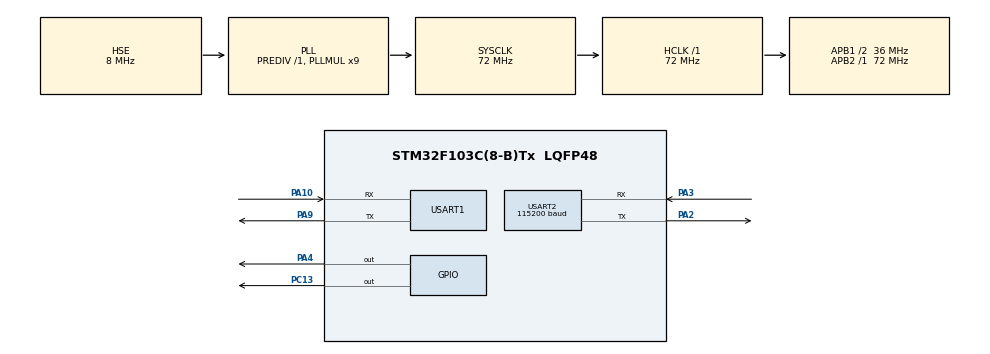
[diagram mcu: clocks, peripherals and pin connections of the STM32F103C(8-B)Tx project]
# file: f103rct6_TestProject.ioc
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Dma.Request0=USART2_RX
Dma.Request1=USART2_TX
Dma.USART2_RX.0.Direction=DMA_PERIPH_TO_MEMORY
Dma.USART2_RX.0.Instance=DMA1_Channel6
Dma.USART2_RX.0.MemDataAlignment=DMA_MDATAALIGN_BYTE
Dma.USART2_RX.0.MemInc=DMA_MINC_ENABLE
Dma.USART2_RX.0.Mode=DMA_CIRCULAR
Dma.USART2_RX.0.PeriphDataAlignment=DMA_PDATAALIGN_BYTE
Dma.USART2_RX.0.PeriphInc=DMA_PINC_DISABLE
Dma.USART2_RX.0.Priority=DMA_PRIORITY_LOW
Dma.USART2_TX.1.Direction=DMA_MEMORY_TO_PERIPH
Dma.USART2_TX.1.Instance=DMA1_Channel7
Dma.USART2_TX.1.MemDataAlignment=DMA_MDATAALIGN_BYTE
Dma.USART2_TX.1.MemInc=DMA_MINC_ENABLE
Dma.USART2_TX.1.Mode=DMA_NORMAL
Dma.USART2_TX.1.PeriphDataAlignment=DMA_PDATAALIGN_BYTE
Dma.USART2_TX.1.PeriphInc=DMA_PINC_DISABLE
Dma.USART2_TX.1.Priority=DMA_PRIORITY_LOW
Mcu.Family=STM32F1
Mcu.Name=STM32F103C(8-B)Tx
Mcu.Package=LQFP48
NVIC.DMA1_Channel6_IRQn=true\:0\:0\:false\:false\:true\:false\:true
NVIC.DMA1_Channel7_IRQn=true\:0\:0\:false\:false\:true\:false\:true
NVIC.PriorityGroup=NVIC_PRIORITYGROUP_4
NVIC.USART2_IRQn=true\:0\:0\:false\:false\:true\:true\:true
PA10.Mode=Asynchronous
PA10.Signal=USART1_RX
PA13.Mode=Serial_Wire
PA13.Signal=SYS_JTMS-SWDIO
PA14.Mode=Serial_Wire
PA14.Signal=SYS_JTCK-SWCLK
PA2.Mode=Asynchronous
PA2.Signal=USART2_TX
PA3.Mode=Asynchronous
PA3.Signal=USART2_RX
PA4.PinState=GPIO_PIN_SET
PA4.Signal=GPIO_Output
PA9.Mode=Asynchronous
PA9.Signal=USART1_TX
PC13-TAMPER-RTC.PinState=GPIO_PIN_RESET
PC13-TAMPER-RTC.Signal=GPIO_Output
PD0-OSC_IN.Mode=HSE-External-Oscillator
PD0-OSC_IN.Signal=RCC_OSC_IN
PD1-OSC_OUT.Mode=HSE-External-Oscillator
PD1-OSC_OUT.Signal=RCC_OSC_OUT
ProjectManager.HeapSize=0x200
ProjectManager.StackSize=0x400
ProjectManager.TargetToolchain=MDK-ARM V5.27
RCC.AHBFreq_Value=72000000
RCC.APB1CLKDivider=RCC_HCLK_DIV2
RCC.APB1Freq_Value=36000000
RCC.APB1TimFreq_Value=72000000
RCC.APB2Freq_Value=72000000
RCC.APB2TimFreq_Value=72000000
RCC.HCLKFreq_Value=72000000
RCC.PLLMUL=RCC_PLL_MUL9
RCC.PLLSourceVirtual=RCC_PLLSOURCE_HSE
RCC.SYSCLKFreq_VALUE=72000000
RCC.SYSCLKSource=RCC_SYSCLKSOURCE_PLLCLK
RCC.USBFreq_Value=72000000
USART1.VirtualMode=VM_ASYNC
USART2.BaudRate=115200
USART2.VirtualMode=VM_ASYNC
board=custom

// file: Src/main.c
/* USER CODE BEGIN Header */
/**
  ******************************************************************************
  * @file           : main.c
  * @brief          : Main program body
  ******************************************************************************
  * @attention
  *
  * <h2><center>&copy; Copyright (c) 2020 STMicroelectronics.
  * All rights reserved.</center></h2>
  *
  * This software component is licensed by ST under BSD 3-Clause license,
  * the "License"; You may not use this file except in compliance with the
  * License. You may obtain a copy of the License at:
  *                        opensource.org/licenses/BSD-3-Clause
  *
  ******************************************************************************
  */
/* USER CODE END Header */

#include "main.h"

/* USER CODE BEGIN Includes */
#include "stdio.h"
/* USER CODE END Includes */

/* USER CODE BEGIN PD */
#define DHT11_IO_IN()  {GPIOA->CRL&=0XFFF0FFFF;GPIOA->CRL|=0X00050000;}
#define DHT11_IO_OUT() {GPIOA->CRL&=0XFFF0FFFF;GPIOA->CRL|=0X00030000;}
/* USER CODE END PD */

UART_HandleTypeDef huart1;
UART_HandleTypeDef huart2;
DMA_HandleTypeDef hdma_usart2_rx;
DMA_HandleTypeDef hdma_usart2_tx;

/* USER CODE BEGIN PV */
uint8_t temp;
uint8_t humi;
uint8_t send_temp[11]={"n0.val="};
uint8_t send_humi[11]={"n1.val="};
uint8_t send_end[3]={0xFF, 0xFF, 0xFF};
/* USER CODE END PV */

void SystemClock_Config(void);
static void MX_GPIO_Init(void);
static void MX_DMA_Init(void);
static void MX_USART1_UART_Init(void);
static void MX_USART2_UART_Init(void);
/* USER CODE BEGIN PFP */
int fputc(int ch, FILE *f)
{
	HAL_UART_Transmit(&huart1, (uint8_t*)&ch, 1, 1000);
	HAL_Delay(1);
	return 0;
}

void Delay_us(uint32_t udelay)
{
  uint32_t startval,tickn,delays,wait;

  startval = SysTick->VAL;
  tickn = HAL_GetTick();
  //sysc = 72000;  //SystemCoreClock / (1000U / uwTickFreq);
  delays =udelay * 72; //sysc / 1000 * udelay;
  if(delays > startval)
    {
      while(HAL_GetTick() == tickn)
        {

        }
      wait = 72000 + startval - delays;
      while(wait < SysTick->VAL)
        {

        }
    }
  else
    {
      wait = startval - delays;
      while(wait < SysTick->VAL && HAL_GetTick() == tickn);
    }
}

void DHT11_Rst(void)
{
	DHT11_IO_OUT();
	HAL_GPIO_WritePin(GPIOA, GPIO_PIN_4, GPIO_PIN_RESET);
	HAL_Delay(20);    	//拉低至少18ms
  HAL_GPIO_WritePin(GPIOA, GPIO_PIN_4, GPIO_PIN_SET);
	Delay_us(30);     	//拉高20~40us
}

//等待DHT11的回应
//返回1:未检测到DHT11的存在
//返回0:存在
uint8_t DHT11_Check(void)
{
	uint8_t retry=0;
	DHT11_IO_IN();//SET INPUT
  while (HAL_GPIO_ReadPin(GPIOA,GPIO_PIN_4)&&retry<100)//DHT11会拉低40~80us
	{
		retry++;
		Delay_us(1);
	}
	if(retry>=100)
		return 1;
	else
		retry=0;

  while (!HAL_GPIO_ReadPin(GPIOA,GPIO_PIN_4)&&retry<100)//DHT11拉低后会再次拉高40~80us
	{
		retry++;
		Delay_us(1);
	};
	if(retry>=100)
		return 1;
	return 0;
}

//从DHT11读取一个位
//返回值：1/0
uint8_t DHT11_Read_Bit(void)
{
 	uint8_t retry=0;
	while(HAL_GPIO_ReadPin(GPIOA,GPIO_PIN_4)&&retry<100)//等待变为低电平
	{
		retry++;
		Delay_us(1);
	}
	retry=0;
	while(!HAL_GPIO_ReadPin(GPIOA,GPIO_PIN_4)&&retry<100)//等待变高电平
	{
		retry++;
		Delay_us(1);
	}
	Delay_us(40);//等待40us
	if(HAL_GPIO_ReadPin(GPIOA,GPIO_PIN_4))
		return 1;
	else
		return 0;
}

//从DHT11读取一个字节
//返回值：读到的数据
uint8_t DHT11_Read_Byte(void)
{
	uint8_t i,dat;
	dat=0;
	for (i=0;i<8;i++)
	{
		dat<<=1;
		dat|=DHT11_Read_Bit();
	}
	return dat;
}

//从DHT11读取一次数据
//temp:温度值(范围:0~50°)
//humi:湿度值(范围:20%~90%)
//返回值：0,正常;1,读取失败
uint8_t DHT11_Read_Data(uint8_t *temp,uint8_t *humi)
{
 	uint8_t buf[5];
	uint8_t i;
	DHT11_Rst();
	if(DHT11_Check()==0)
	{
		for(i=0;i<5;i++)//读取40位数据
		{
			buf[i]=DHT11_Read_Byte();
		}
		if((buf[0]+buf[1]+buf[2]+buf[3])==buf[4])
		{
			*humi=buf[0];
			*temp=buf[2];
		}
	}
	else
		return 1;
	return 0;
}

//初始化DHT11的IO口 DQ 同时检测DHT11的存在
//返回1:不存在
//返回0:存在
uint8_t DHT11_Init(void)
{
	DHT11_Rst();  //复位DHT11
	return DHT11_Check();//等待DHT11的回应
}
/* USER CODE END PFP */

int main(void)
{

  /* MCU Configuration--------------------------------------------------------*/

  /* Reset of all peripherals, Initializes the Flash interface and the Systick. */
  HAL_Init();

  /* Configure the system clock */
  SystemClock_Config();

  /* Initialize all configured peripherals */
  MX_GPIO_Init();
  MX_DMA_Init();
  MX_USART1_UART_Init();
  MX_USART2_UART_Init();
  /* USER CODE BEGIN 2 */
	while(DHT11_Init())
	{
		printf("DHT11 Error \r\n");
		HAL_Delay(1000);
	}
  /* USER CODE END 2 */

  /* Infinite loop */
  while (1)
  {

    /* USER CODE BEGIN 3 */
		DHT11_Read_Data(&temp,&humi);
		printf("temp %d, humi %d\r\n",temp,humi);
		send_temp[7]=temp/100+48;
		send_temp[8]=temp/10%10+48;
		send_temp[9]=temp%10+48;
		send_humi[7]=humi/100+48;
		send_humi[8]=humi/10%10+48;
		send_humi[9]=humi%10+48;
		HAL_UART_Transmit_DMA(&huart2, send_temp, 10);
		HAL_Delay(1);
		HAL_UART_Transmit_DMA(&huart2, send_end, 3);
		HAL_Delay(1);
		HAL_UART_Transmit_DMA(&huart2, send_humi, 10);
		HAL_Delay(1);
		HAL_UART_Transmit_DMA(&huart2, send_end, 3);
		HAL_Delay(1);
		HAL_GPIO_TogglePin(GPIOC, GPIO_PIN_13);
		HAL_Delay(2000);
  }
  /* USER CODE END 3 */
}

void SystemClock_Config(void)
{
  RCC_OscInitTypeDef RCC_OscInitStruct = {0};
  RCC_ClkInitTypeDef RCC_ClkInitStruct = {0};

  /** Initializes the CPU, AHB and APB busses clocks
  */
  RCC_OscInitStruct.OscillatorType = RCC_OSCILLATORTYPE_HSE;
  RCC_OscInitStruct.HSEState = RCC_HSE_ON;
  RCC_OscInitStruct.HSEPredivValue = RCC_HSE_PREDIV_DIV1;
  RCC_OscInitStruct.HSIState = RCC_HSI_ON;
  RCC_OscInitStruct.PLL.PLLState = RCC_PLL_ON;
  RCC_OscInitStruct.PLL.PLLSource = RCC_PLLSOURCE_HSE;
  RCC_OscInitStruct.PLL.PLLMUL = RCC_PLL_MUL9;
  if (HAL_RCC_OscConfig(&RCC_OscInitStruct) != HAL_OK)
  {
    Error_Handler();
  }
  /** Initializes the CPU, AHB and APB busses clocks
  */
  RCC_ClkInitStruct.ClockType = RCC_CLOCKTYPE_HCLK|RCC_CLOCKTYPE_SYSCLK
                              |RCC_CLOCKTYPE_PCLK1|RCC_CLOCKTYPE_PCLK2;
  RCC_ClkInitStruct.SYSCLKSource = RCC_SYSCLKSOURCE_PLLCLK;
  RCC_ClkInitStruct.AHBCLKDivider = RCC_SYSCLK_DIV1;
  RCC_ClkInitStruct.APB1CLKDivider = RCC_HCLK_DIV2;
  RCC_ClkInitStruct.APB2CLKDivider = RCC_HCLK_DIV1;

  if (HAL_RCC_ClockConfig(&RCC_ClkInitStruct, FLASH_LATENCY_2) != HAL_OK)
  {
    Error_Handler();
  }
}

static void MX_USART1_UART_Init(void)
{

  huart1.Instance = USART1;
  huart1.Init.BaudRate = 115200;
  huart1.Init.WordLength = UART_WORDLENGTH_8B;
  huart1.Init.StopBits = UART_STOPBITS_1;
  huart1.Init.Parity = UART_PARITY_NONE;
  huart1.Init.Mode = UART_MODE_TX_RX;
  huart1.Init.HwFlowCtl = UART_HWCONTROL_NONE;
  huart1.Init.OverSampling = UART_OVERSAMPLING_16;
  if (HAL_UART_Init(&huart1) != HAL_OK)
  {
    Error_Handler();
  }

}

static void MX_USART2_UART_Init(void)
{

  huart2.Instance = USART2;
  huart2.Init.BaudRate = 115200;
  huart2.Init.WordLength = UART_WORDLENGTH_8B;
  huart2.Init.StopBits = UART_STOPBITS_1;
  huart2.Init.Parity = UART_PARITY_NONE;
  huart2.Init.Mode = UART_MODE_TX_RX;
  huart2.Init.HwFlowCtl = UART_HWCONTROL_NONE;
  huart2.Init.OverSampling = UART_OVERSAMPLING_16;
  if (HAL_UART_Init(&huart2) != HAL_OK)
  {
    Error_Handler();
  }

}

static void MX_DMA_Init(void)
{

  /* DMA controller clock enable */
  __HAL_RCC_DMA1_CLK_ENABLE();

  /* DMA interrupt init */
  /* DMA1_Channel6_IRQn interrupt configuration */
  HAL_NVIC_SetPriority(DMA1_Channel6_IRQn, 0, 0);
  HAL_NVIC_EnableIRQ(DMA1_Channel6_IRQn);
  /* DMA1_Channel7_IRQn interrupt configuration */
  HAL_NVIC_SetPriority(DMA1_Channel7_IRQn, 0, 0);
  HAL_NVIC_EnableIRQ(DMA1_Channel7_IRQn);

}

static void MX_GPIO_Init(void)
{
  GPIO_InitTypeDef GPIO_InitStruct = {0};

  /* GPIO Ports Clock Enable */
  __HAL_RCC_GPIOC_CLK_ENABLE();
  __HAL_RCC_GPIOD_CLK_ENABLE();
  __HAL_RCC_GPIOA_CLK_ENABLE();

  /*Configure GPIO pin Output Level */
  HAL_GPIO_WritePin(GPIOC, GPIO_PIN_13, GPIO_PIN_RESET);

  /*Configure GPIO pin Output Level */
  HAL_GPIO_WritePin(GPIOA, GPIO_PIN_4, GPIO_PIN_SET);

  /*Configure GPIO pin : PC13 */
  GPIO_InitStruct.Pin = GPIO_PIN_13;
  GPIO_InitStruct.Mode = GPIO_MODE_OUTPUT_PP;
  GPIO_InitStruct.Pull = GPIO_NOPULL;
  GPIO_InitStruct.Speed = GPIO_SPEED_FREQ_LOW;
  HAL_GPIO_Init(GPIOC, &GPIO_InitStruct);

  /*Configure GPIO pin : PA4 */
  GPIO_InitStruct.Pin = GPIO_PIN_4;
  GPIO_InitStruct.Mode = GPIO_MODE_OUTPUT_PP;
  GPIO_InitStruct.Pull = GPIO_NOPULL;
  GPIO_InitStruct.Speed = GPIO_SPEED_FREQ_LOW;
  HAL_GPIO_Init(GPIOA, &GPIO_InitStruct);

}

void Error_Handler(void)
{
}

/************************ (C) COPYRIGHT STMicroelectronics *****END OF FILE****/
